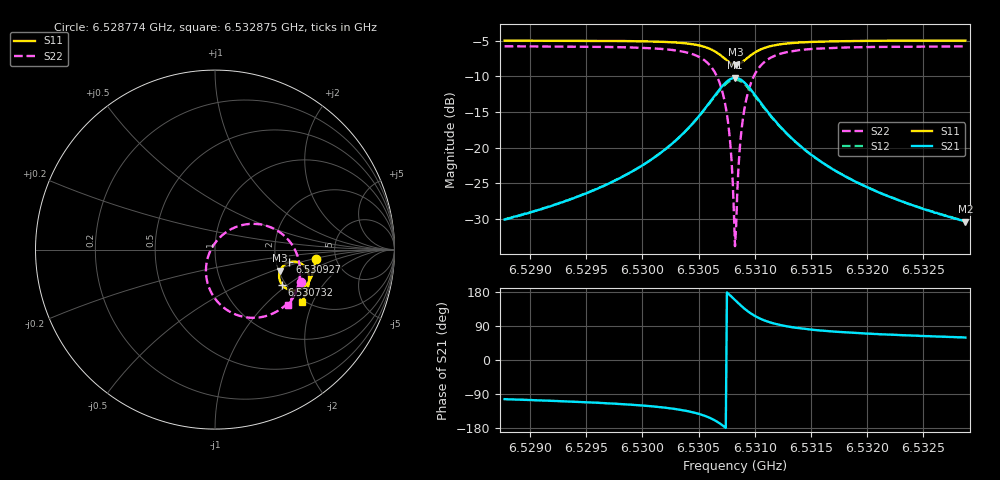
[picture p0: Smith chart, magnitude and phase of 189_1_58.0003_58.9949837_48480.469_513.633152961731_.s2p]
#  HZ  S  RI  R  50.00
! Rohde & Schwarz Vector Network Analyzer
! Rohde-Schwarz,ZNB20-2Port,1311601062101988,3.16
! Created: UTC 3/21/2024, 12:58:45 AM
! freq[Hz]  re:S11  im:S11  re:S21  im:S21  re:S12  im:S12  re:S22  im:S22
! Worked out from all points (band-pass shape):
!   401 points, 6.528774 GHz to 6.532875 GHz, reference 50 ohm
!   highest |S21| = -10.21 dB at 6.530825 GHz (marker M1); lowest = -30.4 dB at 6.532875 GHz (marker M2)
!   |S21| within 3 dB of the highest: 6.53062 GHz to 6.53103 GHz (409.7 kHz wide, 0.00627 % of centre)
!   lowest |S11| = -8.4 dB at 6.530835 GHz (marker M3), VSWR 2.23, Z = 102 - j27.9 ohm
!   |S11| at or under -10 dB: nowhere
!   |S22| runs from -33.8 to -5.8 dB; largest |S21 - S12| = 0.012
!   S11 on the Smith chart (normalised r, x): 6.528774 GHz: 3.49, -0.51; 6.530732 GHz: 1.91, -0.91; 6.530927 GHz: 2.37, -0.40; 6.532875 GHz: 1.92, -1.66
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6.5287739e9  0.5605 -0.0499  -0.00721 -0.0304  -0.00792 -0.0303  0.4817 -0.1783
6.5294608e9  0.5512 -0.1075  -0.0167 -0.0434  -0.0177 -0.043  0.4498 -0.2415
6.5301478e9  0.5242 -0.1768  -0.0506 -0.0744  -0.0525 -0.073  0.3669 -0.3304
6.5303837e9  0.4975 -0.2073  -0.0903 -0.0942  -0.0931 -0.0909  0.2855 -0.3697
6.530558e9  0.454 -0.2272  -0.1589 -0.1009  -0.1611 -0.0942  0.1588 -0.3747
6.5306605e9  0.4088 -0.2226  -0.2288 -0.0744  -0.2281 -0.0647  0.0412 -0.3172
6.5307323e9  0.3732 -0.1955  -0.2806 -0.0156  -0.2746 -0.00537  -0.0345 -0.2083
6.5307733e9  0.3599 -0.1674  -0.2965 0.0377  -0.2876 0.046  -0.0506 -0.1169
6.5307835e9  0.358 -0.1594  -0.2977 0.0526  -0.2879 0.0602  -0.0493 -0.0923
6.5308143e9  0.3582 -0.1339  -0.292 0.0984  -0.2809 0.1033  -0.0309 -0.0181
6.5308245e9  0.3602 -0.1255  -0.287 0.1135  -0.2757 0.1173  -0.0197 0.00518
6.5308348e9  0.363 -0.1172  -0.2805 0.1278  -0.2693 0.1307  -0.00632 0.0276
6.5308451e9  0.3667 -0.1093  -0.2726 0.1415  -0.2617 0.1433  0.00908 0.0483
6.5308758e9  0.3818 -0.0892  -0.2425 0.176  -0.2326 0.1753  0.0646 0.0991
6.5308963e9  0.3945 -0.0793  -0.2188 0.1928  -0.21 0.1909  0.1067 0.122
6.5309271e9  0.4149 -0.0701  -0.1817 0.2084  -0.1749 0.2054  0.171 0.1405
6.5309989e9  0.4583 -0.0692  -0.106 0.2105  -0.1024 0.2075  0.2983 0.1288
6.5311014e9  0.4964 -0.0912  -0.0408 0.1795  -0.039 0.1777  0.4031 0.06
6.5312552e9  0.5187 -0.1271  -0.00134 0.1327  -0.000109 0.132  0.4599 -0.0359
6.5315115e9  0.5244 -0.1705  0.0154 0.0869  0.0165 0.0865  0.4736 -0.1337
6.5321985e9  0.5072 -0.2422  0.0176 0.0416  0.0184 0.0414  0.4442 -0.2499
6.5328752e9  0.4821 -0.2936  0.0154 0.0259  0.016 0.0258  0.4091 -0.3096
